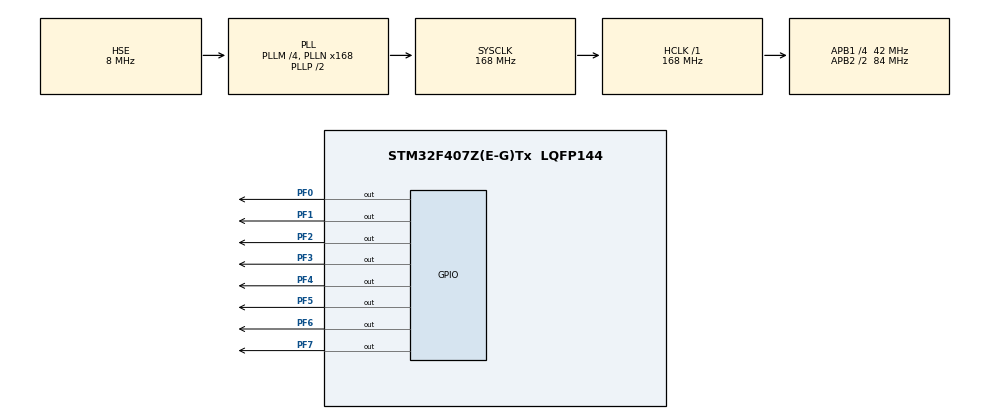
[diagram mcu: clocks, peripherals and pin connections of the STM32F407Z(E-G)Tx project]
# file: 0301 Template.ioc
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Mcu.Family=STM32F4
Mcu.Name=STM32F407Z(E-G)Tx
Mcu.Package=LQFP144
NVIC.PriorityGroup=NVIC_PRIORITYGROUP_4
PA13.Mode=Serial_Wire
PA13.Signal=SYS_JTMS-SWDIO
PA14.Mode=Serial_Wire
PA14.Signal=SYS_JTCK-SWCLK
PF0.PinState=GPIO_PIN_SET
PF0.Signal=GPIO_Output
PF1.PinState=GPIO_PIN_SET
PF1.Signal=GPIO_Output
PF2.PinState=GPIO_PIN_SET
PF2.Signal=GPIO_Output
PF3.PinState=GPIO_PIN_SET
PF3.Signal=GPIO_Output
PF4.PinState=GPIO_PIN_SET
PF4.Signal=GPIO_Output
PF5.PinState=GPIO_PIN_SET
PF5.Signal=GPIO_Output
PF6.PinState=GPIO_PIN_SET
PF6.Signal=GPIO_Output
PF7.PinState=GPIO_PIN_SET
PF7.Signal=GPIO_Output
PH0-OSC_IN.Mode=HSE-External-Oscillator
PH0-OSC_IN.Signal=RCC_OSC_IN
PH1-OSC_OUT.Mode=HSE-External-Oscillator
PH1-OSC_OUT.Signal=RCC_OSC_OUT
ProjectManager.HeapSize=0x200
ProjectManager.StackSize=0x400
ProjectManager.TargetToolchain=MDK-ARM V5.32
RCC.48MHZClocksFreq_Value=84000000
RCC.AHBFreq_Value=168000000
RCC.APB1CLKDivider=RCC_HCLK_DIV4
RCC.APB1Freq_Value=42000000
RCC.APB1TimFreq_Value=84000000
RCC.APB2CLKDivider=RCC_HCLK_DIV2
RCC.APB2Freq_Value=84000000
RCC.APB2TimFreq_Value=168000000
RCC.CortexFreq_Value=168000000
RCC.HCLKFreq_Value=168000000
RCC.HSE_VALUE=8000000
RCC.HSI_VALUE=16000000
RCC.LSE_VALUE=32768
RCC.PLLM=4
RCC.PLLN=168
RCC.PLLSourceVirtual=RCC_PLLSOURCE_HSE
RCC.SYSCLKFreq_VALUE=168000000
RCC.SYSCLKSource=RCC_SYSCLKSOURCE_PLLCLK
RCC.VCOOutputFreq_Value=336000000
board=custom

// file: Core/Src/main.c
/* USER CODE BEGIN Header */
/**
  ******************************************************************************
  * @file           : main.c
  * @brief          : Main program body
  ******************************************************************************
  * @attention
  *
  * Copyright (c) 2026 STMicroelectronics.
  * All rights reserved.
  *
  * This software is licensed under terms that can be found in the LICENSE file
  * in the root directory of this software component.
  * If no LICENSE file comes with this software, it is provided AS-IS.
  *
  ******************************************************************************
  */
/* USER CODE END Header */
#include "main.h"
#include "gpio.h"

void SystemClock_Config(void);

/* USER CODE BEGIN 0 */
void delay(uint32_t i)
{
    while(i--);
}
/* USER CODE END 0 */

int main(void)
{

  /* MCU Configuration--------------------------------------------------------*/

  /* Reset of all peripherals, Initializes the Flash interface and the Systick. */
  HAL_Init();

  /* Configure the system clock */
  SystemClock_Config();

  /* Initialize all configured peripherals */
  MX_GPIO_Init();

  /* Infinite loop */
  /* USER CODE BEGIN WHILE */
while (1)
{
    GPIOF->ODR=0xFE;   //LED1
    delay(24000000);
    GPIOF->ODR=0xFD;   //LED2
    delay(24000000);
    GPIOF->ODR=0xFB;   //LED3
    delay(24000000);
    GPIOF->ODR=0xF7;   //LED4
    delay(24000000);
    GPIOF->ODR=0xEF;   //LED5
    delay(24000000);
    GPIOF->ODR=0xDF;   //LED6
    delay(24000000);
    GPIOF->ODR=0xBF;   //LED7
    delay(24000000);
    GPIOF->ODR=0x7F;   //LED8
    delay(24000000);

/* USER CODE END WHILE */

  }
}

void SystemClock_Config(void)
{
  RCC_OscInitTypeDef RCC_OscInitStruct = {0};
  RCC_ClkInitTypeDef RCC_ClkInitStruct = {0};

  /** Configure the main internal regulator output voltage
  */
  __HAL_RCC_PWR_CLK_ENABLE();
  __HAL_PWR_VOLTAGESCALING_CONFIG(PWR_REGULATOR_VOLTAGE_SCALE1);

  /** Initializes the RCC Oscillators according to the specified parameters
  * in the RCC_OscInitTypeDef structure.
  */
  RCC_OscInitStruct.OscillatorType = RCC_OSCILLATORTYPE_HSE;
  RCC_OscInitStruct.HSEState = RCC_HSE_ON;
  RCC_OscInitStruct.PLL.PLLState = RCC_PLL_ON;
  RCC_OscInitStruct.PLL.PLLSource = RCC_PLLSOURCE_HSE;
  RCC_OscInitStruct.PLL.PLLM = 4;
  RCC_OscInitStruct.PLL.PLLN = 168;
  RCC_OscInitStruct.PLL.PLLP = RCC_PLLP_DIV2;
  RCC_OscInitStruct.PLL.PLLQ = 4;
  if (HAL_RCC_OscConfig(&RCC_OscInitStruct) != HAL_OK)
  {
    Error_Handler();
  }

  /** Initializes the CPU, AHB and APB buses clocks
  */
  RCC_ClkInitStruct.ClockType = RCC_CLOCKTYPE_HCLK|RCC_CLOCKTYPE_SYSCLK
                              |RCC_CLOCKTYPE_PCLK1|RCC_CLOCKTYPE_PCLK2;
  RCC_ClkInitStruct.SYSCLKSource = RCC_SYSCLKSOURCE_PLLCLK;
  RCC_ClkInitStruct.AHBCLKDivider = RCC_SYSCLK_DIV1;
  RCC_ClkInitStruct.APB1CLKDivider = RCC_HCLK_DIV4;
  RCC_ClkInitStruct.APB2CLKDivider = RCC_HCLK_DIV2;

  if (HAL_RCC_ClockConfig(&RCC_ClkInitStruct, FLASH_LATENCY_5) != HAL_OK)
  {
    Error_Handler();
  }
}

void Error_Handler(void)
{
  __disable_irq();
  while (1)
  {
  }
}
